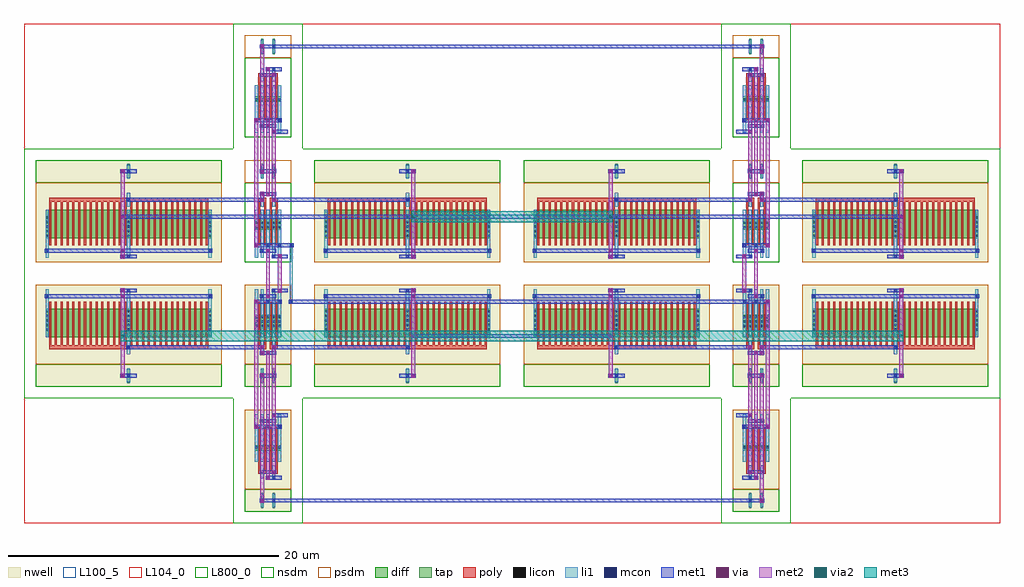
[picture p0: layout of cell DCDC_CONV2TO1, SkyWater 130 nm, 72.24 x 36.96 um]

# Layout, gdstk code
import gdstk
lib = gdstk.Library(unit=1e-6, precision=1e-09)
def R(c, l, rs):  # rectangles x0, y0, x1, y1
    for r in rs: c.add(gdstk.rectangle(r[:2], r[2:], *l))
def A(c, l, x, y, w, h, nx, ny, dx, dy):  # array of equal rectangles
    R(c, l, [(x+i*dx, y+j*dy, x+i*dx+w, y+j*dy+h) for i in range(nx) for j in range(ny)])
nwell = (64, 20)
diff = (65, 20)
tap = (65, 44)
poly = (66, 20)
licon = (66, 44)
li1 = (67, 20)
mcon = (67, 44)
met1 = (68, 20)
via = (68, 44)
met2 = (69, 20)
via2 = (69, 44)
met3 = (70, 20)
nsdm = (93, 44)
psdm = (94, 20)
L100_5 = (100, 5)
L104_0 = (104, 0)
L800_0 = (800, 0)

dcdc_conv2to1 = lib.new_cell('DCDC_CONV2TO1')
R(dcdc_conv2to1, nwell, [(16.34,0.84,19.78,8.4), (52.46,0.84,55.9,8.4), (0.86,10.08,14.62,17.64), (16.34,10.08,19.78,17.64), (21.5,10.08,35.26,17.64), (36.98,10.08,50.74,17.64), (52.46,10.08,55.9,17.64), (57.62,10.08,71.38,17.64), (0.86,19.32,14.62,26.88), (21.5,19.32,35.26,26.88), (36.98,19.32,50.74,26.88), (57.62,19.32,71.38,26.88)])
R(dcdc_conv2to1, diff, [(17.075,5.355,19.045,5.775), (53.195,5.355,55.165,5.775), (1.595,13.755,13.885,15.855), (22.235,13.755,34.525,15.855), (37.715,13.755,50.005,15.855), (58.355,13.755,70.645,15.855), (17.075,14.175,19.045,15.435), (53.195,14.175,55.165,15.435), (1.595,21.105,13.885,23.205), (22.235,21.105,34.525,23.205), (37.715,21.105,50.005,23.205), (58.355,21.105,70.645,23.205), (17.075,21.735,19.045,22.575), (53.195,21.735,55.165,22.575), (17.075,31.185,19.045,31.605), (53.195,31.185,55.165,31.605)])
R(dcdc_conv2to1, tap, [(17.545,1.12,17.715,2.24), (18.405,1.12,18.575,2.24), (53.665,1.12,53.835,2.24), (54.525,1.12,54.695,2.24), (7.655,10.36,7.825,11.48), (17.545,10.36,17.715,11.48), (18.405,10.36,18.575,11.48), (28.295,10.36,28.465,11.48), (43.775,10.36,43.945,11.48), (53.665,10.36,53.835,11.48), (54.525,10.36,54.695,11.48), (64.415,10.36,64.585,11.48), (7.655,25.48,7.825,26.6), (17.545,25.48,17.715,26.6), (18.405,25.48,18.575,26.6), (28.295,25.48,28.465,26.6), (43.775,25.48,43.945,26.6), (53.665,25.48,53.835,26.6), (54.525,25.48,54.695,26.6), (64.415,25.48,64.585,26.6), (17.545,34.72,17.715,35.84), (18.405,34.72,18.575,35.84), (53.665,34.72,53.835,35.84), (54.525,34.72,54.695,35.84)])
A(dcdc_conv2to1, poly, 17.34, 3.78, 0.15, 3.36, 4, 2, 0.43, 9.24)
A(dcdc_conv2to1, poly, 53.46, 3.78, 0.15, 3.36, 4, 2, 0.43, 9.24)
A(dcdc_conv2to1, poly, 1.86, 13.02, 0.15, 3.36, 28, 2, 0.43, 7.56)
A(dcdc_conv2to1, poly, 22.5, 13.02, 0.15, 3.36, 28, 2, 0.43, 7.56)
A(dcdc_conv2to1, poly, 37.98, 13.02, 0.15, 3.36, 28, 2, 0.43, 7.56)
A(dcdc_conv2to1, poly, 58.62, 13.02, 0.15, 3.36, 28, 2, 0.43, 7.56)
A(dcdc_conv2to1, poly, 17.34, 20.58, 0.15, 3.36, 4, 2, 0.43, 9.24)
A(dcdc_conv2to1, poly, 53.46, 20.58, 0.15, 3.36, 4, 2, 0.43, 9.24)
R(dcdc_conv2to1, poly, [(17.34,3.645,17.92,3.915), (18.2,3.645,18.78,3.915), (53.46,3.645,54.04,3.915), (54.32,3.645,54.9,3.915), (1.86,12.885,13.62,13.155), (17.34,12.885,17.92,13.155), (18.2,12.885,18.78,13.155), (22.5,12.885,34.26,13.155), (37.98,12.885,49.74,13.155), (53.46,12.885,54.04,13.155), (54.32,12.885,54.9,13.155), (58.62,12.885,70.38,13.155), (1.86,23.805,13.62,24.075), (17.34,23.805,17.92,24.075), (18.2,23.805,18.78,24.075), (22.5,23.805,34.26,24.075), (37.98,23.805,49.74,24.075), (53.46,23.805,54.04,24.075), (54.32,23.805,54.9,24.075), (58.62,23.805,70.38,24.075), (17.34,33.045,17.92,33.315), (18.2,33.045,18.78,33.315), (53.46,33.045,54.04,33.315), (54.32,33.045,54.9,33.315)])
A(dcdc_conv2to1, licon, 17.115, 5.525, 0.17, 0.17, 3, 2, 0.43, 8.98)
A(dcdc_conv2to1, licon, 17.975, 5.525, 0.17, 0.17, 3, 2, 0.43, 8.98)
A(dcdc_conv2to1, licon, 53.235, 5.525, 0.17, 0.17, 3, 2, 0.43, 8.98)
A(dcdc_conv2to1, licon, 54.095, 5.525, 0.17, 0.17, 3, 2, 0.43, 8.98)
A(dcdc_conv2to1, licon, 1.635, 14.245, 0.17, 0.17, 3, 5, 6.02, 0.34)
A(dcdc_conv2to1, licon, 22.275, 14.245, 0.17, 0.17, 3, 5, 6.02, 0.34)
A(dcdc_conv2to1, licon, 37.755, 14.245, 0.17, 0.17, 3, 5, 6.02, 0.34)
A(dcdc_conv2to1, licon, 58.395, 14.245, 0.17, 0.17, 3, 5, 6.02, 0.34)
A(dcdc_conv2to1, licon, 17.115, 14.845, 0.17, 0.17, 3, 2, 0.43, 0.34)
A(dcdc_conv2to1, licon, 17.975, 14.845, 0.17, 0.17, 3, 2, 0.43, 0.34)
A(dcdc_conv2to1, licon, 53.235, 14.845, 0.17, 0.17, 3, 2, 0.43, 0.34)
A(dcdc_conv2to1, licon, 54.095, 14.845, 0.17, 0.17, 3, 2, 0.43, 0.34)
A(dcdc_conv2to1, licon, 1.635, 21.185, 0.17, 0.17, 3, 5, 6.02, 0.34)
A(dcdc_conv2to1, licon, 22.275, 21.185, 0.17, 0.17, 3, 5, 6.02, 0.34)
A(dcdc_conv2to1, licon, 37.755, 21.185, 0.17, 0.17, 3, 5, 6.02, 0.34)
A(dcdc_conv2to1, licon, 58.395, 21.185, 0.17, 0.17, 3, 5, 6.02, 0.34)
A(dcdc_conv2to1, licon, 17.115, 21.815, 0.17, 0.17, 3, 2, 0.43, 0.34)
A(dcdc_conv2to1, licon, 17.975, 21.815, 0.17, 0.17, 3, 2, 0.43, 0.34)
A(dcdc_conv2to1, licon, 53.235, 21.815, 0.17, 0.17, 3, 2, 0.43, 0.34)
A(dcdc_conv2to1, licon, 54.095, 21.815, 0.17, 0.17, 3, 2, 0.43, 0.34)
A(dcdc_conv2to1, licon, 17.115, 31.265, 0.17, 0.17, 3, 1, 0.43, 0)
A(dcdc_conv2to1, licon, 17.975, 31.265, 0.17, 0.17, 3, 1, 0.43, 0)
A(dcdc_conv2to1, licon, 53.235, 31.265, 0.17, 0.17, 3, 1, 0.43, 0)
A(dcdc_conv2to1, licon, 54.095, 31.265, 0.17, 0.17, 3, 1, 0.43, 0)
R(dcdc_conv2to1, licon, [(17.545,1.595,17.715,1.765), (18.405,1.595,18.575,1.765), (53.665,1.595,53.835,1.765), (54.525,1.595,54.695,1.765), (17.545,3.695,17.715,3.865), (18.405,3.695,18.575,3.865), (53.665,3.695,53.835,3.865), (54.525,3.695,54.695,3.865), (7.655,10.835,7.825,11.005), (17.545,10.835,17.715,11.005), (18.405,10.835,18.575,11.005), (28.295,10.835,28.465,11.005), (43.775,10.835,43.945,11.005), (53.665,10.835,53.835,11.005), (54.525,10.835,54.695,11.005), (64.415,10.835,64.585,11.005), (7.655,12.935,7.825,13.105), (17.545,12.935,17.715,13.105), (18.405,12.935,18.575,13.105), (28.295,12.935,28.465,13.105), (43.775,12.935,43.945,13.105), (53.665,12.935,53.835,13.105), (54.525,12.935,54.695,13.105), (64.415,12.935,64.585,13.105), (7.655,23.855,7.825,24.025), (17.545,23.855,17.715,24.025), (18.405,23.855,18.575,24.025), (28.295,23.855,28.465,24.025), (43.775,23.855,43.945,24.025), (53.665,23.855,53.835,24.025), (54.525,23.855,54.695,24.025), (64.415,23.855,64.585,24.025), (7.655,25.955,7.825,26.125), (17.545,25.955,17.715,26.125), (18.405,25.955,18.575,26.125), (28.295,25.955,28.465,26.125), (43.775,25.955,43.945,26.125), (53.665,25.955,53.835,26.125), (54.525,25.955,54.695,26.125), (64.415,25.955,64.585,26.125), (17.545,33.095,17.715,33.265), (18.405,33.095,18.575,33.265), (53.665,33.095,53.835,33.265), (54.525,33.095,54.695,33.265), (17.545,35.195,17.715,35.365), (18.405,35.195,18.575,35.365), (53.665,35.195,53.835,35.365), (54.525,35.195,54.695,35.365)])
A(dcdc_conv2to1, li1, 17.075, 4.535, 0.25, 3.53, 5, 2, 0.43, 9.24)
A(dcdc_conv2to1, li1, 53.195, 4.535, 0.25, 3.53, 5, 2, 0.43, 9.24)
A(dcdc_conv2to1, li1, 1.595, 13.775, 0.25, 3.53, 3, 2, 6.02, 5.88)
A(dcdc_conv2to1, li1, 22.235, 13.775, 0.25, 3.53, 3, 2, 6.02, 5.88)
A(dcdc_conv2to1, li1, 37.715, 13.775, 0.25, 3.53, 3, 2, 6.02, 5.88)
A(dcdc_conv2to1, li1, 58.355, 13.775, 0.25, 3.53, 3, 2, 6.02, 5.88)
A(dcdc_conv2to1, li1, 17.075, 19.655, 0.25, 3.53, 5, 2, 0.43, 9.24)
A(dcdc_conv2to1, li1, 53.195, 19.655, 0.25, 3.53, 5, 2, 0.43, 9.24)
R(dcdc_conv2to1, li1, [(17.505,1.175,17.755,2.185), (18.365,1.175,18.615,2.185), (53.625,1.175,53.875,2.185), (54.485,1.175,54.735,2.185), (17.505,3.275,17.755,4.285), (18.365,3.275,18.615,4.285), (53.625,3.275,53.875,4.285), (54.485,3.275,54.735,4.285), (7.615,10.415,7.865,11.425), (17.505,10.415,17.755,11.425), (18.365,10.415,18.615,11.425), (28.255,10.415,28.505,11.425), (43.735,10.415,43.985,11.425), (53.625,10.415,53.875,11.425), (54.485,10.415,54.735,11.425), (64.375,10.415,64.625,11.425), (7.615,12.515,7.865,13.525), (17.505,12.515,17.755,13.525), (18.365,12.515,18.615,13.525), (28.255,12.515,28.505,13.525), (43.735,12.515,43.985,13.525), (53.625,12.515,53.875,13.525), (54.485,12.515,54.735,13.525), (64.375,12.515,64.625,13.525), (19.655,16.295,19.905,20.665), (7.615,23.435,7.865,24.445), (17.505,23.435,17.755,24.445), (18.365,23.435,18.615,24.445), (28.255,23.435,28.505,24.445), (43.735,23.435,43.985,24.445), (53.625,23.435,53.875,24.445), (54.485,23.435,54.735,24.445), (64.375,23.435,64.625,24.445), (7.615,25.535,7.865,26.545), (17.505,25.535,17.755,26.545), (18.365,25.535,18.615,26.545), (28.255,25.535,28.505,26.545), (43.735,25.535,43.985,26.545), (53.625,25.535,53.875,26.545), (54.485,25.535,54.735,26.545), (64.375,25.535,64.625,26.545), (17.505,32.675,17.755,33.685), (18.365,32.675,18.615,33.685), (53.625,32.675,53.875,33.685), (54.485,32.675,54.735,33.685), (17.505,34.775,17.755,35.785), (18.365,34.775,18.615,35.785), (53.625,34.775,53.875,35.785), (54.485,34.775,54.735,35.785)])
A(dcdc_conv2to1, mcon, 17.115, 7.055, 0.17, 0.17, 3, 2, 0.86, 22.68)
A(dcdc_conv2to1, mcon, 53.235, 7.055, 0.17, 0.17, 3, 2, 0.86, 9.24)
A(dcdc_conv2to1, mcon, 17.115, 16.295, 0.17, 0.17, 4, 2, 0.86, 4.2)
A(dcdc_conv2to1, mcon, 53.235, 20.495, 0.17, 0.17, 3, 2, 0.86, 9.24)
R(dcdc_conv2to1, mcon, [(17.545,1.595,17.715,1.765), (18.405,1.595,18.575,1.765), (53.665,1.595,53.835,1.765), (54.525,1.595,54.695,1.765), (18.405,3.275,18.575,3.445), (53.665,3.275,53.835,3.445), (17.545,3.695,17.715,3.865), (54.525,3.695,54.695,3.865), (17.545,7.475,17.715,7.645), (54.525,7.475,54.695,7.645), (18.405,7.895,18.575,8.065), (53.665,7.895,53.835,8.065), (7.655,10.835,7.825,11.005), (17.545,10.835,17.715,11.005), (18.405,10.835,18.575,11.005), (28.295,10.835,28.465,11.005), (43.775,10.835,43.945,11.005), (53.665,10.835,53.835,11.005), (54.525,10.835,54.695,11.005), (64.415,10.835,64.585,11.005), (17.545,12.515,17.715,12.685), (54.525,12.515,54.695,12.685), (7.655,12.935,7.825,13.105), (18.405,12.935,18.575,13.105), (28.295,12.935,28.465,13.105), (43.775,12.935,43.945,13.105), (53.665,12.935,53.835,13.105), (64.415,12.935,64.585,13.105), (1.635,16.715,1.805,16.885), (13.675,16.715,13.845,16.885), (17.545,16.715,17.715,16.885), (22.275,16.715,22.445,16.885), (34.315,16.715,34.485,16.885), (37.755,16.715,37.925,16.885), (49.795,16.715,49.965,16.885), (54.525,16.715,54.695,16.885), (58.395,16.715,58.565,16.885), (70.435,16.715,70.605,16.885), (7.655,17.135,7.825,17.305), (18.405,17.135,18.575,17.305), (28.295,17.135,28.465,17.305), (43.775,17.135,43.945,17.305), (53.665,17.135,53.835,17.305), (64.415,17.135,64.585,17.305), (7.655,19.655,7.825,19.825), (18.405,19.655,18.575,19.825), (28.295,19.655,28.465,19.825), (43.775,19.655,43.945,19.825), (53.665,19.655,53.835,19.825), (64.415,19.655,64.585,19.825), (1.635,20.075,1.805,20.245), (13.675,20.075,13.845,20.245), (17.545,20.075,17.715,20.245), (22.275,20.075,22.445,20.245), (34.315,20.075,34.485,20.245), (37.755,20.075,37.925,20.245), (49.795,20.075,49.965,20.245), (54.525,20.075,54.695,20.245), (58.395,20.075,58.565,20.245), (70.435,20.075,70.605,20.245), (7.655,23.855,7.825,24.025), (18.405,23.855,18.575,24.025), (28.295,23.855,28.465,24.025), (43.775,23.855,43.945,24.025), (53.665,23.855,53.835,24.025), (64.415,23.855,64.585,24.025), (17.545,24.275,17.715,24.445), (54.525,24.275,54.695,24.445), (7.655,25.955,7.825,26.125), (17.545,25.955,17.715,26.125), (18.405,25.955,18.575,26.125), (28.295,25.955,28.465,26.125), (43.775,25.955,43.945,26.125), (53.665,25.955,53.835,26.125), (54.525,25.955,54.695,26.125), (64.415,25.955,64.585,26.125), (18.405,28.895,18.575,29.065), (53.665,28.895,53.835,29.065), (17.545,29.315,17.715,29.485), (54.525,29.315,54.695,29.485), (17.545,33.095,17.715,33.265), (54.525,33.095,54.695,33.265), (18.405,33.515,18.575,33.685), (53.665,33.515,53.835,33.685), (17.545,35.195,17.715,35.365), (18.405,35.195,18.575,35.365), (53.665,35.195,53.835,35.365), (54.525,35.195,54.695,35.365)])
A(dcdc_conv2to1, met1, 7.14, 10.78, 1.2, 0.28, 3, 2, 10.32, 15.12)
A(dcdc_conv2to1, met1, 43.26, 10.78, 1.2, 0.28, 3, 2, 10.32, 15.12)
R(dcdc_conv2to1, met1, [(17.46,1.54,54.78,1.82), (17.89,3.22,19.09,3.5), (53.15,3.22,54.35,3.5), (17.46,3.64,18.66,3.92), (53.58,3.64,54.78,3.92), (17.03,7,19.09,7.28), (53.15,7,55.21,7.28), (17.46,7.42,18.66,7.7), (53.58,7.42,54.78,7.7), (18.32,7.84,19.52,8.12), (52.72,7.84,53.92,8.12), (17.46,12.46,18.66,12.74), (53.58,12.46,54.78,12.74), (7.57,12.88,17.79,13.16), (18.32,12.88,28.55,13.16), (43.69,12.88,53.92,13.16), (54.45,12.88,64.67,13.16), (28.65,13.72,43.59,14), (17.03,16.24,19.09,16.52), (19.61,16.24,55.21,16.52), (1.55,16.66,13.93,16.94), (17.46,16.66,18.66,16.94), (22.19,16.66,34.57,16.94), (37.67,16.66,50.05,16.94), (53.58,16.66,54.78,16.94), (58.31,16.66,70.69,16.94), (7.14,17.08,8.34,17.36), (18.32,17.08,19.52,17.36), (27.78,17.08,28.98,17.36), (43.26,17.08,44.46,17.36), (52.72,17.08,53.92,17.36), (63.9,17.08,65.1,17.36), (7.14,19.6,8.34,19.88), (18.32,19.6,19.52,19.88), (27.78,19.6,28.98,19.88), (43.26,19.6,44.46,19.88), (52.72,19.6,53.92,19.88), (63.9,19.6,65.1,19.88), (1.55,20.02,13.93,20.3), (17.46,20.02,18.66,20.3), (22.19,20.02,34.57,20.3), (37.67,20.02,50.05,20.3), (53.58,20.02,54.78,20.3), (58.31,20.02,70.69,20.3), (17.03,20.44,19.95,20.72), (53.15,20.44,55.21,20.72), (7.15,22.54,65.09,22.82), (7.57,23.8,17.79,24.08), (18.32,23.8,28.55,24.08), (43.69,23.8,53.92,24.08), (54.45,23.8,64.67,24.08), (17.46,24.22,18.66,24.5), (53.58,24.22,54.78,24.5), (18.32,28.84,19.52,29.12), (52.72,28.84,53.92,29.12), (17.46,29.26,18.66,29.54), (53.58,29.26,54.78,29.54), (17.03,29.68,19.09,29.96), (53.15,29.68,55.21,29.96), (17.46,33.04,18.66,33.32), (53.58,33.04,54.78,33.32), (17.89,33.46,19.09,33.74), (53.15,33.46,54.35,33.74), (17.46,35.14,54.78,35.42)])
A(dcdc_conv2to1, via, 7.235, 16.725, 0.15, 0.15, 3, 2, 10.75, 3.36)
A(dcdc_conv2to1, via, 43.355, 16.725, 0.15, 0.15, 3, 2, 10.75, 3.36)
R(dcdc_conv2to1, via, [(17.555,1.605,17.705,1.755), (54.535,1.605,54.685,1.755), (17.985,3.285,18.135,3.435), (54.105,3.285,54.255,3.435), (18.415,3.705,18.565,3.855), (53.675,3.705,53.825,3.855), (17.125,7.065,17.275,7.215), (54.965,7.065,55.115,7.215), (17.985,7.485,18.135,7.635), (54.105,7.485,54.255,7.635), (18.415,7.905,18.565,8.055), (53.675,7.905,53.825,8.055), (7.235,10.845,7.385,10.995), (17.555,10.845,17.705,10.995), (28.735,10.845,28.885,10.995), (43.355,10.845,43.505,10.995), (54.535,10.845,54.685,10.995), (64.855,10.845,65.005,10.995), (17.555,12.525,17.705,12.675), (17.985,12.525,18.135,12.675), (54.105,12.525,54.255,12.675), (54.535,12.525,54.685,12.675), (17.555,12.945,17.705,13.095), (18.415,12.945,18.565,13.095), (53.675,12.945,53.825,13.095), (54.535,12.945,54.685,13.095), (28.735,13.785,28.885,13.935), (43.355,13.785,43.505,13.935), (17.125,16.305,17.275,16.455), (54.965,16.305,55.115,16.455), (7.235,17.145,7.385,17.295), (18.845,17.145,18.995,17.295), (28.735,17.145,28.885,17.295), (43.355,17.145,43.505,17.295), (53.245,17.145,53.395,17.295), (64.855,17.145,65.005,17.295), (7.235,19.665,7.385,19.815), (18.845,19.665,18.995,19.815), (28.735,19.665,28.885,19.815), (43.355,19.665,43.505,19.815), (53.245,19.665,53.395,19.815), (64.855,19.665,65.005,19.815), (17.125,20.505,17.275,20.655), (54.965,20.505,55.115,20.655), (7.235,22.605,7.385,22.755), (64.855,22.605,65.005,22.755), (17.555,23.865,17.705,24.015), (18.415,23.865,18.565,24.015), (53.675,23.865,53.825,24.015), (54.535,23.865,54.685,24.015), (17.555,24.285,17.705,24.435), (17.985,24.285,18.135,24.435), (54.105,24.285,54.255,24.435), (54.535,24.285,54.685,24.435), (7.235,25.965,7.385,26.115), (17.555,25.965,17.705,26.115), (28.735,25.965,28.885,26.115), (43.355,25.965,43.505,26.115), (54.535,25.965,54.685,26.115), (64.855,25.965,65.005,26.115), (18.415,28.905,18.565,29.055), (53.675,28.905,53.825,29.055), (17.985,29.325,18.135,29.475), (54.105,29.325,54.255,29.475), (17.125,29.745,17.275,29.895), (54.965,29.745,55.115,29.895), (18.415,33.105,18.565,33.255), (53.675,33.105,53.825,33.255), (17.985,33.525,18.135,33.675), (54.105,33.525,54.255,33.675), (17.555,35.205,17.705,35.355), (54.535,35.205,54.685,35.355)])
R(dcdc_conv2to1, met2, [(17.49,1.52,17.77,11.08), (54.47,1.52,54.75,11.08), (17.92,3.2,18.2,12.76), (54.04,3.2,54.32,12.76), (18.35,3.62,18.63,13.18), (53.61,3.62,53.89,13.18), (17.06,6.98,17.34,16.54), (54.9,6.98,55.18,16.54), (7.17,10.76,7.45,17.38), (28.67,10.76,28.95,17.38), (43.29,10.76,43.57,17.38), (64.79,10.76,65.07,17.38), (17.49,12.44,17.77,13.18), (54.47,12.44,54.75,13.18), (17.92,16.64,18.2,20.32), (54.04,16.64,54.32,20.32), (18.78,17.06,19.06,19.9), (53.18,17.06,53.46,19.9), (7.17,19.58,7.45,26.2), (28.67,19.58,28.95,26.2), (43.29,19.58,43.57,26.2), (64.79,19.58,65.07,26.2), (17.06,20.42,17.34,29.98), (54.9,20.42,55.18,29.98), (17.49,23.78,17.77,24.52), (18.35,23.78,18.63,33.34), (53.61,23.78,53.89,33.34), (54.47,23.78,54.75,24.52), (17.92,24.2,18.2,33.76), (54.04,24.2,54.32,33.76), (17.49,25.88,17.77,35.44), (54.47,25.88,54.75,35.44)])
R(dcdc_conv2to1, via2, [(7.21,13.76,7.41,13.96), (64.83,13.76,65.03,13.96), (28.71,22.58,28.91,22.78), (43.33,22.58,43.53,22.78)])
R(dcdc_conv2to1, met3, [(7.145,13.46,65.095,14.26), (28.645,22.28,43.595,23.08)])
R(dcdc_conv2to1, nsdm, [(16.34,0.84,19.78,2.52), (52.46,0.84,55.9,2.52), (0.86,10.08,14.62,11.76), (16.34,10.08,19.78,11.76), (21.5,10.08,35.26,11.76), (36.98,10.08,50.74,11.76), (52.46,10.08,55.9,11.76), (57.62,10.08,71.38,11.76), (16.34,19.32,19.78,25.2), (52.46,19.32,55.9,25.2), (0.86,25.2,14.62,26.88), (21.5,25.2,35.26,26.88), (36.98,25.2,50.74,26.88), (57.62,25.2,71.38,26.88), (16.34,28.56,19.78,34.44), (52.46,28.56,55.9,34.44)])
R(dcdc_conv2to1, psdm, [(16.34,2.52,19.78,8.4), (52.46,2.52,55.9,8.4), (0.86,11.76,14.62,17.64), (16.34,11.76,19.78,17.64), (21.5,11.76,35.26,17.64), (36.98,11.76,50.74,17.64), (52.46,11.76,55.9,17.64), (57.62,11.76,71.38,17.64), (0.86,19.32,14.62,25.2), (21.5,19.32,35.26,25.2), (36.98,19.32,50.74,25.2), (57.62,19.32,71.38,25.2), (16.34,25.2,19.78,26.88), (52.46,25.2,55.9,26.88), (16.34,34.44,19.78,36.12), (52.46,34.44,55.9,36.12)])
R(dcdc_conv2to1, L100_5, [(0,0,72.24,36.96)])
R(dcdc_conv2to1, L104_0, [(0,0,72.24,36.96)])
A(dcdc_conv2to1, L800_0, 15.48, 0, 5.16, 9.24, 1, 4, 0, 9.24)
A(dcdc_conv2to1, L800_0, 51.6, 0, 5.16, 9.24, 1, 4, 0, 9.24)
R(dcdc_conv2to1, L800_0, [(0,9.24,15.48,18.48), (20.64,9.24,36.12,18.48), (36.12,9.24,51.6,18.48), (56.76,9.24,72.24,18.48), (0,18.48,15.48,27.72), (20.64,18.48,36.12,27.72), (36.12,18.48,51.6,27.72), (56.76,18.48,72.24,27.72)])

lib.write_gds('DCDC_CONV2TO1.gds')
